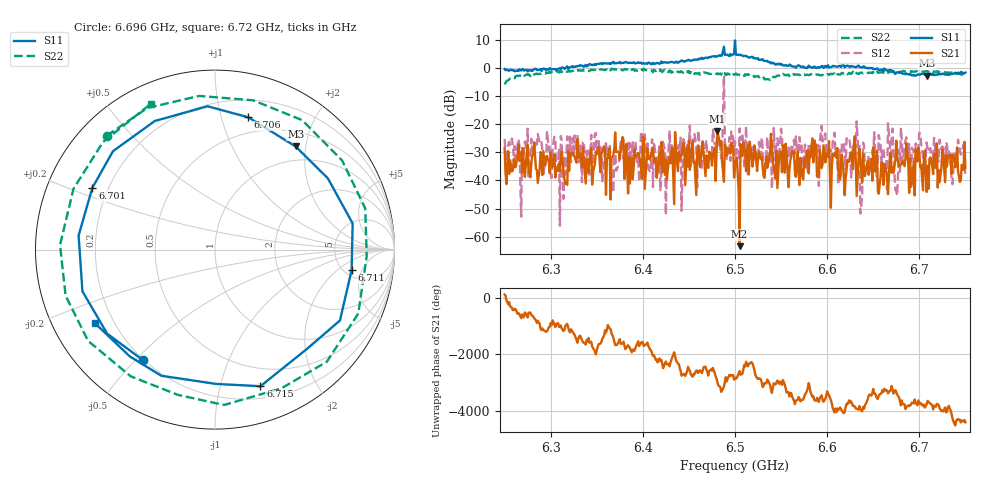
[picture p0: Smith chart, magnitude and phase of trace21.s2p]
# Hz S RI R 50
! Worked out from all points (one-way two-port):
!   401 points, 6.25 GHz to 6.75 GHz, reference 50 ohm
!   highest |S21| = -22.37 dB at 6.481 GHz (marker M1); lowest = -63.4 dB at 6.505 GHz (marker M2)
!   lowest |S11| = -2.7 dB at 6.708 GHz (marker M3), VSWR 6.39, Z = 37 + j90.7 ohm
!   |S11| at or under -10 dB: nowhere
!   |S22| runs from -5.8 to -0.2 dB; largest |S21 - S12| = 0.73
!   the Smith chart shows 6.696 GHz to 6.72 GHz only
!   S11 on the Smith chart (normalised r, x): 6.696 GHz: 0.20, -0.53; 6.701 GHz: 0.14, +0.23; 6.706 GHz: 0.35, +1.22; 6.711 GHz: 5.82, -3.26; 6.715 GHz: 0.31, -1.34; 6.72 GHz: 0.13, -0.28
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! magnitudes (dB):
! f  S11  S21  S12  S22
! 6.25 GHz  -0.3  -28.4  -25.2  -5.8
! 6.334 GHz  0.8  -35.5  -40.6  -0.9
! 6.4 GHz  1.7  -24.4  -32.7  -0.8
! 6.418 GHz  1.6  -30.3  -27.9  -1.0
! 6.481 GHz  4.2  -22.4  -22.8  -1.9
! 6.5 GHz  9.8  -35.3  -26.1  -2.3
! 6.505 GHz  4.6  -63.4  -21.5  -2.4
! 6.509 GHz  4.2  -26.5  -26.9  -2.4
! 6.571 GHz  0.5  -32.0  -29.2  -2.3
! 6.584 GHz  0.1  -25.3  -24.9  -2.0
! 6.639 GHz  0.5  -30.5  -26.5  -1.9
! 6.668 GHz  -0.7  -31.8  -27.5  -1.4
! 6.676 GHz  -1.5  -32.0  -45.4  -1.3
! 6.682 GHz  -2.0  -33.1  -33.7  -1.0
! 6.696 GHz  -2.7  -28.9  -26.8  -1.2
! 6.701 GHz  -2.3  -35.3  -23.8  -1.2
! 6.706 GHz  -2.4  -29.4  -35.6  -1.2
! 6.708 GHz  -2.7  -44.1  -26.5  -1.1
! 6.711 GHz  -2.3  -32.3  -28.8  -1.6
! 6.715 GHz  -1.9  -37.7  -32.5  -1.2
! 6.72 GHz  -2.1  -42.5  -31.7  -1.0
! 6.75 GHz  -1.6  -35.6  -38.1  -1.7
